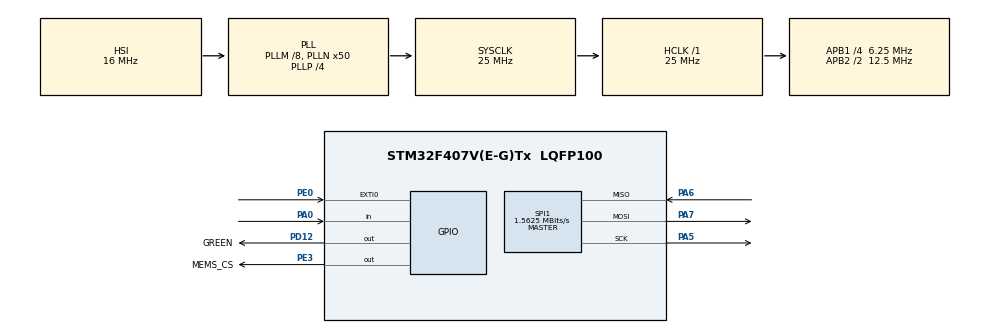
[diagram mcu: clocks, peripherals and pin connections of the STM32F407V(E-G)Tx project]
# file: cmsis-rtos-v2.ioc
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Mcu.Family=STM32F4
Mcu.Name=STM32F407V(E-G)Tx
Mcu.Package=LQFP100
NVIC.EXTI0_IRQn=true\:0\:0\:false\:false\:true\:true\:true\:true
NVIC.PriorityGroup=NVIC_PRIORITYGROUP_4
PA0-WKUP.Signal=GPIO_Input
PA13.Mode=Serial_Wire
PA13.Signal=SYS_JTMS-SWDIO
PA14.Mode=Serial_Wire
PA14.Signal=SYS_JTCK-SWCLK
PA5.Mode=Full_Duplex_Master
PA5.Signal=SPI1_SCK
PA6.Mode=Full_Duplex_Master
PA6.Signal=SPI1_MISO
PA7.Mode=Full_Duplex_Master
PA7.Signal=SPI1_MOSI
PD12.GPIO_Label=GREEN
PD12.Signal=GPIO_Output
PE0.Signal=GPXTI0
PE3.GPIO_Label=MEMS_CS
PE3.Signal=GPIO_Output
ProjectManager.HeapSize=0x200
ProjectManager.StackSize=0x400
ProjectManager.TargetToolchain=STM32CubeIDE
RCC.48MHZClocksFreq_Value=14285714.285714285
RCC.AHBFreq_Value=25000000
RCC.APB1CLKDivider=RCC_HCLK_DIV4
RCC.APB1Freq_Value=6250000
RCC.APB1TimFreq_Value=12500000
RCC.APB2CLKDivider=RCC_HCLK_DIV2
RCC.APB2Freq_Value=12500000
RCC.APB2TimFreq_Value=25000000
RCC.CortexFreq_Value=25000000
RCC.HCLKFreq_Value=25000000
RCC.HSE_VALUE=8000000
RCC.HSI_VALUE=16000000
RCC.LSE_VALUE=32768
RCC.PLLM=8
RCC.PLLN=50
RCC.PLLP=RCC_PLLP_DIV4
RCC.PLLQ=7
RCC.SYSCLKFreq_VALUE=25000000
RCC.SYSCLKSource=RCC_SYSCLKSOURCE_PLLCLK
RCC.VCOOutputFreq_Value=100000000
SPI1.BaudRatePrescaler=SPI_BAUDRATEPRESCALER_8
SPI1.CLKPhase=SPI_PHASE_1EDGE
SPI1.CLKPolarity=SPI_POLARITY_LOW
SPI1.CalculateBaudRate=1.5625 MBits/s
SPI1.Direction=SPI_DIRECTION_2LINES
SPI1.Mode=SPI_MODE_MASTER
SPI1.VirtualType=VM_MASTER
board=STM32F407G-DISC1

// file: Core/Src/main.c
/* USER CODE BEGIN Header */
/**
  ******************************************************************************
  * @file           : main.c
  * @brief          : Main program body
  ******************************************************************************
  * @attention
  *
  * Copyright (c) 2024 STMicroelectronics.
  * All rights reserved.
  *
  * This software is licensed under terms that can be found in the LICENSE file
  * in the root directory of this software component.
  * If no LICENSE file comes with this software, it is provided AS-IS.
  *
  ******************************************************************************
  */
/* USER CODE END Header */
#include "main.h"
#include "spi.h"
#include "gpio.h"

/* USER CODE BEGIN Includes */
#include "MY_LIS3DSH.h"
#include "stdio.h"
/* USER CODE END Includes */

void SystemClock_Config(void);

/* USER CODE BEGIN 0 */

int _write(int file, char *ptr, int len) {
    for (int i = 0; i < len; i++) {
        ITM_SendChar((*ptr++));
    }
    return len;
}
LIS3DSH_DataScaled myData;
/* USER CODE END 0 */

int main(void)
{

  /* USER CODE BEGIN 1 */
	LIS3DSH_InitTypeDef myAccConfigDef;

  /* USER CODE END 1 */

  /* MCU Configuration--------------------------------------------------------*/

  /* Reset of all peripherals, Initializes the Flash interface and the Systick. */
  HAL_Init();

  /* Configure the system clock */
  SystemClock_Config();

  /* Initialize all configured peripherals */
  MX_GPIO_Init();
  MX_SPI1_Init();
  /* USER CODE BEGIN 2 */
  myAccConfigDef.dataRate = LIS3DSH_DATARATE_12_5;
  myAccConfigDef.fullScale = LIS3DSH_FULLSCALE_4;
  myAccConfigDef.antiAliasingBW = LIS3DSH_FILTER_BW_50;
  myAccConfigDef.enableAxes = LIS3DSH_XYZ_ENABLE;
  myAccConfigDef.interruptEnable = false;
  LIS3DSH_Init(&hspi1, &myAccConfigDef);

  /* USER CODE END 2 */

  /* Infinite loop */
  /* USER CODE BEGIN WHILE */
  while (1)
  {
	  if(LIS3DSH_PollDRDY(1000)== true){
		  myData = LIS3DSH_GetDataScaled();
		  HAL_GPIO_TogglePin(GPIOD, GREEN_Pin);
	  	}

	  	printf("Gyro X: \n");
    /* USER CODE END WHILE */

  }
}

void SystemClock_Config(void)
{
  RCC_OscInitTypeDef RCC_OscInitStruct = {0};
  RCC_ClkInitTypeDef RCC_ClkInitStruct = {0};

  /** Configure the main internal regulator output voltage
  */
  __HAL_RCC_PWR_CLK_ENABLE();
  __HAL_PWR_VOLTAGESCALING_CONFIG(PWR_REGULATOR_VOLTAGE_SCALE1);

  /** Initializes the RCC Oscillators according to the specified parameters
  * in the RCC_OscInitTypeDef structure.
  */
  RCC_OscInitStruct.OscillatorType = RCC_OSCILLATORTYPE_HSI;
  RCC_OscInitStruct.HSIState = RCC_HSI_ON;
  RCC_OscInitStruct.HSICalibrationValue = RCC_HSICALIBRATION_DEFAULT;
  RCC_OscInitStruct.PLL.PLLState = RCC_PLL_ON;
  RCC_OscInitStruct.PLL.PLLSource = RCC_PLLSOURCE_HSI;
  RCC_OscInitStruct.PLL.PLLM = 8;
  RCC_OscInitStruct.PLL.PLLN = 50;
  RCC_OscInitStruct.PLL.PLLP = RCC_PLLP_DIV4;
  RCC_OscInitStruct.PLL.PLLQ = 7;
  if (HAL_RCC_OscConfig(&RCC_OscInitStruct) != HAL_OK)
  {
    Error_Handler();
  }

  /** Initializes the CPU, AHB and APB buses clocks
  */
  RCC_ClkInitStruct.ClockType = RCC_CLOCKTYPE_HCLK|RCC_CLOCKTYPE_SYSCLK
                              |RCC_CLOCKTYPE_PCLK1|RCC_CLOCKTYPE_PCLK2;
  RCC_ClkInitStruct.SYSCLKSource = RCC_SYSCLKSOURCE_PLLCLK;
  RCC_ClkInitStruct.AHBCLKDivider = RCC_SYSCLK_DIV1;
  RCC_ClkInitStruct.APB1CLKDivider = RCC_HCLK_DIV4;
  RCC_ClkInitStruct.APB2CLKDivider = RCC_HCLK_DIV2;

  if (HAL_RCC_ClockConfig(&RCC_ClkInitStruct, FLASH_LATENCY_0) != HAL_OK)
  {
    Error_Handler();
  }
}

void Error_Handler(void)
{
  __disable_irq();
  while (1)
  {
  }
}
